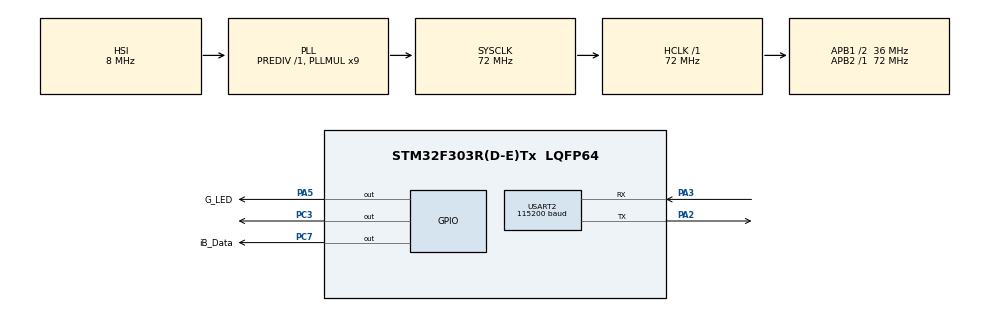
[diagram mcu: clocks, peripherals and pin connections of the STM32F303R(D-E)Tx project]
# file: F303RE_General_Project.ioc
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Mcu.Family=STM32F3
Mcu.Name=STM32F303R(D-E)Tx
Mcu.Package=LQFP64
NVIC.PriorityGroup=NVIC_PRIORITYGROUP_4
NVIC.TIM6_DAC_IRQn=true\:0\:0\:false\:false\:true\:true\:true\:true
NVIC.USART2_IRQn=true\:0\:0\:false\:false\:true\:true\:true\:true
PA2.Mode=Asynchronous
PA2.Signal=USART2_TX
PA3.Mode=Asynchronous
PA3.Signal=USART2_RX
PA5.GPIO_Label=G_LED
PA5.Signal=GPIO_Output
PC3.GPIO_PuPd=GPIO_NOPULL
PC3.Signal=GPIO_Output
PC7.GPIO_Label=iB_Data
PC7.GPIO_ModeDefaultOutputPP=GPIO_MODE_OUTPUT_OD
PC7.GPIO_PuPd=GPIO_NOPULL
PC7.Signal=GPIO_Output
ProjectManager.HeapSize=0x200
ProjectManager.StackSize=0x400
ProjectManager.TargetToolchain=STM32CubeIDE
RCC.AHBFreq_Value=72000000
RCC.APB1CLKDivider=RCC_HCLK_DIV2
RCC.APB1Freq_Value=36000000
RCC.APB1TimFreq_Value=72000000
RCC.APB2Freq_Value=72000000
RCC.APB2TimFreq_Value=72000000
RCC.CortexFreq_Value=72000000
RCC.HCLKFreq_Value=72000000
RCC.HSE_VALUE=8000000
RCC.HSI_VALUE=8000000
RCC.LSE_VALUE=32768
RCC.PLLMUL=RCC_PLL_MUL9
RCC.SYSCLKFreq_VALUE=72000000
RCC.SYSCLKSourceVirtual=RCC_SYSCLKSOURCE_PLLCLK
RCC.USBFreq_Value=72000000
TIM6.Period=999
TIM6.Prescaler=71
USART2.BaudRate=115200
USART2.VirtualMode-Asynchronous=VM_ASYNC
VP_TIM6_VS_ClockSourceINT.Mode=Enable_Timer
board=custom

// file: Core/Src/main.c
/* USER CODE BEGIN Header */
/**
 ******************************************************************************
 * @file           : main.c
 * @brief          : Main program body
 ******************************************************************************
 * @attention
 *
 * Copyright (c) 2025 STMicroelectronics.
 * All rights reserved.
 *
 * This software is licensed under terms that can be found in the LICENSE file
 * in the root directory of this software component.
 * If no LICENSE file comes with this software, it is provided AS-IS.
 *
 ******************************************************************************
 */
/* USER CODE END Header */
#include "main.h"

/* USER CODE BEGIN Includes */
#include <stdio.h>
#include <stdlib.h>
/* USER CODE END Includes */

TIM_HandleTypeDef htim6;

UART_HandleTypeDef huart2;

/* USER CODE BEGIN PV */
uint8_t ROM_ID[8]={0};
uint8_t eeprom_data[512];  // Array to store 512 bytes of data
/* USER CODE END PV */

void SystemClock_Config(void);
static void MX_GPIO_Init(void);
static void MX_USART2_UART_Init(void);
static void MX_TIM6_Init(void);

/* USER CODE BEGIN 0 */
void delay_us (uint16_t us)
{
	__HAL_TIM_SET_COUNTER(&htim6,0);  // set the counter value a 0
	while (__HAL_TIM_GET_COUNTER(&htim6) < us);  // wait for the counter to reach the us input in the parameter
}

void OneWire_Pin_Output(void) {
	GPIO_InitTypeDef GPIO_InitStruct = {0};
	GPIO_InitStruct.Pin = iB_Data_Pin;
	GPIO_InitStruct.Mode = GPIO_MODE_OUTPUT_OD;
	GPIO_InitStruct.Pull = GPIO_NOPULL;
	HAL_GPIO_Init(iB_Data_GPIO_Port, &GPIO_InitStruct);
}

void OneWire_Pin_Input(void) {
	GPIO_InitTypeDef GPIO_InitStruct = {0};
	GPIO_InitStruct.Pin = iB_Data_Pin;
	GPIO_InitStruct.Mode = GPIO_MODE_INPUT;
	GPIO_InitStruct.Pull = GPIO_NOPULL;
	HAL_GPIO_Init(iB_Data_GPIO_Port, &GPIO_InitStruct);
}

void OneWire_WriteBit(uint8_t bit) {
	OneWire_Pin_Output();
	HAL_GPIO_WritePin(iB_Data_GPIO_Port, iB_Data_Pin, GPIO_PIN_RESET);

	if (bit) {
		delay_us(6);
		OneWire_Pin_Input();
		delay_us(64);
	} else {
		delay_us(60);
		OneWire_Pin_Input();
		delay_us(10);
	}
}

uint8_t OneWire_ReadBit(void) {
	uint8_t bit;

	OneWire_Pin_Output();
	HAL_GPIO_WritePin(iB_Data_GPIO_Port, iB_Data_Pin, GPIO_PIN_RESET);
	delay_us(6);
	OneWire_Pin_Input();
	delay_us(9);

	bit = HAL_GPIO_ReadPin(iB_Data_GPIO_Port, iB_Data_Pin);
	delay_us(55);

	return bit;
}

void OneWire_WriteByte(uint8_t byte) {
	for (int i = 0; i < 8; i++) {
		OneWire_WriteBit(byte & 0x01);
		byte >>= 1;
	}
}

uint8_t OneWire_ReadByte(void) {
	uint8_t byte = 0;

	for (int i = 0; i < 8; i++) {
		byte |= (OneWire_ReadBit() << i);
	}

	return byte;
}

uint8_t OneWire_Reset(void) {
	uint8_t presence;

	OneWire_Pin_Output();
	HAL_GPIO_WritePin(iB_Data_GPIO_Port, iB_Data_Pin, GPIO_PIN_RESET);
	delay_us(480); // Pull low for 480us

	OneWire_Pin_Input();  // Release the line
	delay_us(70);         // Wait 70us

	presence = HAL_GPIO_ReadPin(iB_Data_GPIO_Port, iB_Data_Pin);
	delay_us(410);        // Wait for rest of the timeslot
	if(presence==0)
	{
		HAL_GPIO_WritePin(G_LED_GPIO_Port, G_LED_Pin, 1);
	}
	return (presence == GPIO_PIN_RESET) ? 1 : 0; // 1 if device is present
}

void OneWire_MatchROM(uint8_t* romID) {
	OneWire_WriteByte(0x55);  // Match ROM command

	// Write each byte of the ROM ID
	for (uint8_t i = 0; i < 8; i++) {
		OneWire_WriteByte(romID[i]);
	}
}

void OneWire_WriteBytes(uint8_t* data, uint16_t length) {
	for (uint16_t i = 0; i < length; i++) {
		OneWire_WriteByte(data[i]);
	}
}

void OneWire_sendReadMemoryCMD(uint16_t address) {
	uint8_t cmd[3];

	// Send the Read Memory command (0xF0)
	cmd[0] = 0xF0;

	// Address (2 bytes: low and high byte)
	cmd[1] = (uint8_t)(address & 0xFF);       // Low byte of address
	cmd[2] = (uint8_t)((address >> 8) & 0xFF); // High byte of address

	// Write the Read Memory command to the iButton
	OneWire_WriteBytes(cmd, sizeof(cmd));
}

void OneWire_ReadBytes(uint8_t* buffer, uint16_t length)
{
	for (uint16_t i = 0; i < length; i++)
	{
		buffer[i] = OneWire_ReadByte();
	}
}

// Function to read all 512 bytes (4K) of memory from the DS1973 EEPROM
void OneWire_ReadAllMemory(uint8_t *eeprom_data) {
	for (uint8_t page = 0; page < 32; page++) {
		uint16_t addr = page * 32;

		if (OneWire_Reset()){

			OneWire_WriteByte(0xCC); // Skip ROM
			OneWire_WriteByte(0xF0); // Read Memory
			OneWire_WriteByte(addr & 0xFF);        // Address LSB
			OneWire_WriteByte((addr >> 8) & 0xFF); // Address MSB

			for (uint8_t i = 0; i < 32; i++) {
				eeprom_data[addr + i] = OneWire_ReadByte();
			}
		}
		HAL_Delay(10); // Delay 10ms after each page read
	}
}

uint8_t DS1973_WritePage(uint8_t page_num, uint8_t *data) {
	uint16_t address = page_num * 32;  // since each page = 32 bytes
	uint8_t TA1 = address & 0xFF;
	uint8_t TA2 = (address >> 8) & 0xFF;

    uint8_t ES;

    // STEP 1: Reset and Skip ROM
    if (!OneWire_Reset()) return 0;
    OneWire_WriteByte(0xCC);  // SKIP ROM

    // STEP 2: Write Scratchpad
    OneWire_WriteByte(0x0F);  // WRITE SCRATCHPAD
    OneWire_WriteByte(TA1);   // TA1
    OneWire_WriteByte(TA2);   // TA2

    for (int i = 0; i < 32; i++) {
        OneWire_WriteByte(data[i]);
    }

    // STEP 3: Reset and Read Scratchpad
    if (!OneWire_Reset()) return 0;
    OneWire_WriteByte(0xCC);  // SKIP ROM
    OneWire_WriteByte(0xAA);  // READ SCRATCHPAD

    uint8_t rTA1 = OneWire_ReadByte(); // TA1
    uint8_t rTA2 = OneWire_ReadByte(); // TA2
    ES = OneWire_ReadByte();           // Ending offset (ES)

    // (Optional: Read the 16 data bytes back for verify)
    for (int i = 0; i < 16; i++) OneWire_ReadByte();

    // STEP 4: Reset and Copy Scratchpad
    if (!OneWire_Reset()) return 0;
    OneWire_WriteByte(0xCC);  // SKIP ROM
    OneWire_WriteByte(0x55);  // COPY SCRATCHPAD
    OneWire_WriteByte(rTA1);  // TA1
    OneWire_WriteByte(rTA2);  // TA2
    OneWire_WriteByte(ES);    // Ending offset byte

    // STEP 5: Wait for EEPROM write (tPROG max = 5-10 ms)
    HAL_Delay(10);

    return 1;  // Success
}

/* USER CODE END 0 */

int main(void)
{

	/* MCU Configuration--------------------------------------------------------*/

	/* Reset of all peripherals, Initializes the Flash interface and the Systick. */
	HAL_Init();

	/* Configure the system clock */
	SystemClock_Config();

	/* Initialize all configured peripherals */
	MX_GPIO_Init();
	MX_USART2_UART_Init();
	MX_TIM6_Init();
	/* USER CODE BEGIN 2 */
	HAL_TIM_Base_Start(&htim6);
	/* USER CODE END 2 */

	/* Infinite loop */
	/* USER CODE BEGIN WHILE */
	HAL_GPIO_WritePin(iB_Data_GPIO_Port, iB_Data_Pin, 1);
	HAL_GPIO_WritePin(G_LED_GPIO_Port, G_LED_Pin, 0);
	HAL_Delay(5000);

	if(OneWire_Reset())
	{
		OneWire_WriteByte(0xCC);
	}
	else
	{
		HAL_GPIO_WritePin(G_LED_GPIO_Port, G_LED_Pin, 0);
	}

	uint8_t my_data[32] = {
	  'H','e','l','l','o','_','S','T','M','3','2','_','E','E','P','R','O','M'
	};

	DS1973_WritePage(15, my_data);  // Write to page 0

//	for (int i = 0; i < 8; i++) {
//		ROM_ID[i] = OneWire_ReadByte();
//	}

	// Read all EEPROM data (512 bytes)
	OneWire_ReadAllMemory(eeprom_data);

	while (1)
	{
		/* USER CODE END WHILE */

	}
}

void SystemClock_Config(void)
{
	RCC_OscInitTypeDef RCC_OscInitStruct = {0};
	RCC_ClkInitTypeDef RCC_ClkInitStruct = {0};
	RCC_PeriphCLKInitTypeDef PeriphClkInit = {0};

	/** Initializes the RCC Oscillators according to the specified parameters
	 * in the RCC_OscInitTypeDef structure.
	 */
	RCC_OscInitStruct.OscillatorType = RCC_OSCILLATORTYPE_HSI;
	RCC_OscInitStruct.HSIState = RCC_HSI_ON;
	RCC_OscInitStruct.HSICalibrationValue = RCC_HSICALIBRATION_DEFAULT;
	RCC_OscInitStruct.PLL.PLLState = RCC_PLL_ON;
	RCC_OscInitStruct.PLL.PLLSource = RCC_PLLSOURCE_HSI;
	RCC_OscInitStruct.PLL.PLLMUL = RCC_PLL_MUL9;
	RCC_OscInitStruct.PLL.PREDIV = RCC_PREDIV_DIV1;
	if (HAL_RCC_OscConfig(&RCC_OscInitStruct) != HAL_OK)
	{
		Error_Handler();
	}

	/** Initializes the CPU, AHB and APB buses clocks
	 */
	RCC_ClkInitStruct.ClockType = RCC_CLOCKTYPE_HCLK|RCC_CLOCKTYPE_SYSCLK
			|RCC_CLOCKTYPE_PCLK1|RCC_CLOCKTYPE_PCLK2;
	RCC_ClkInitStruct.SYSCLKSource = RCC_SYSCLKSOURCE_PLLCLK;
	RCC_ClkInitStruct.AHBCLKDivider = RCC_SYSCLK_DIV1;
	RCC_ClkInitStruct.APB1CLKDivider = RCC_HCLK_DIV2;
	RCC_ClkInitStruct.APB2CLKDivider = RCC_HCLK_DIV1;

	if (HAL_RCC_ClockConfig(&RCC_ClkInitStruct, FLASH_LATENCY_2) != HAL_OK)
	{
		Error_Handler();
	}
	PeriphClkInit.PeriphClockSelection = RCC_PERIPHCLK_USART2;
	PeriphClkInit.Usart2ClockSelection = RCC_USART2CLKSOURCE_PCLK1;
	if (HAL_RCCEx_PeriphCLKConfig(&PeriphClkInit) != HAL_OK)
	{
		Error_Handler();
	}
}

static void MX_TIM6_Init(void)
{

	TIM_MasterConfigTypeDef sMasterConfig = {0};

	htim6.Instance = TIM6;
	htim6.Init.Prescaler = 71;
	htim6.Init.CounterMode = TIM_COUNTERMODE_UP;
	htim6.Init.Period = 999;
	htim6.Init.AutoReloadPreload = TIM_AUTORELOAD_PRELOAD_DISABLE;
	if (HAL_TIM_Base_Init(&htim6) != HAL_OK)
	{
		Error_Handler();
	}
	sMasterConfig.MasterOutputTrigger = TIM_TRGO_RESET;
	sMasterConfig.MasterSlaveMode = TIM_MASTERSLAVEMODE_DISABLE;
	if (HAL_TIMEx_MasterConfigSynchronization(&htim6, &sMasterConfig) != HAL_OK)
	{
		Error_Handler();
	}

}

static void MX_USART2_UART_Init(void)
{

	huart2.Instance = USART2;
	huart2.Init.BaudRate = 115200;
	huart2.Init.WordLength = UART_WORDLENGTH_8B;
	huart2.Init.StopBits = UART_STOPBITS_1;
	huart2.Init.Parity = UART_PARITY_NONE;
	huart2.Init.Mode = UART_MODE_TX_RX;
	huart2.Init.HwFlowCtl = UART_HWCONTROL_NONE;
	huart2.Init.OverSampling = UART_OVERSAMPLING_16;
	huart2.Init.OneBitSampling = UART_ONE_BIT_SAMPLE_DISABLE;
	huart2.AdvancedInit.AdvFeatureInit = UART_ADVFEATURE_NO_INIT;
	if (HAL_UART_Init(&huart2) != HAL_OK)
	{
		Error_Handler();
	}

}

static void MX_GPIO_Init(void)
{
	GPIO_InitTypeDef GPIO_InitStruct = {0};

	/* GPIO Ports Clock Enable */
	__HAL_RCC_GPIOC_CLK_ENABLE();
	__HAL_RCC_GPIOA_CLK_ENABLE();

	/*Configure GPIO pin Output Level */
	HAL_GPIO_WritePin(GPIOC, GPIO_PIN_3|iB_Data_Pin, GPIO_PIN_RESET);

	/*Configure GPIO pin Output Level */
	HAL_GPIO_WritePin(G_LED_GPIO_Port, G_LED_Pin, GPIO_PIN_RESET);

	/*Configure GPIO pin : PC3 */
	GPIO_InitStruct.Pin = GPIO_PIN_3;
	GPIO_InitStruct.Mode = GPIO_MODE_OUTPUT_PP;
	GPIO_InitStruct.Pull = GPIO_NOPULL;
	GPIO_InitStruct.Speed = GPIO_SPEED_FREQ_LOW;
	HAL_GPIO_Init(GPIOC, &GPIO_InitStruct);

	/*Configure GPIO pin : G_LED_Pin */
	GPIO_InitStruct.Pin = G_LED_Pin;
	GPIO_InitStruct.Mode = GPIO_MODE_OUTPUT_PP;
	GPIO_InitStruct.Pull = GPIO_NOPULL;
	GPIO_InitStruct.Speed = GPIO_SPEED_FREQ_LOW;
	HAL_GPIO_Init(G_LED_GPIO_Port, &GPIO_InitStruct);

	/*Configure GPIO pin : iB_Data_Pin */
	GPIO_InitStruct.Pin = iB_Data_Pin;
	GPIO_InitStruct.Mode = GPIO_MODE_OUTPUT_OD;
	GPIO_InitStruct.Pull = GPIO_NOPULL;
	GPIO_InitStruct.Speed = GPIO_SPEED_FREQ_LOW;
	HAL_GPIO_Init(iB_Data_GPIO_Port, &GPIO_InitStruct);

}

void Error_Handler(void)
{
	__disable_irq();
	while (1)
	{
	}
}
